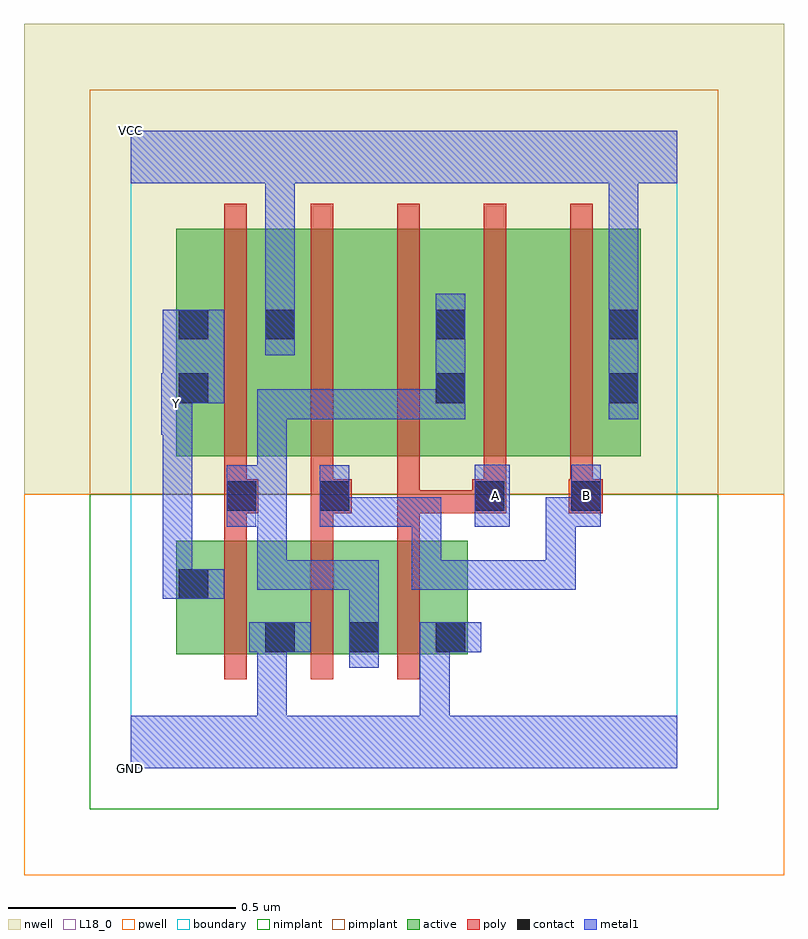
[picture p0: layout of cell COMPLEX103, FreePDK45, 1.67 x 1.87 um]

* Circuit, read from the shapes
.subckt COMPLEX103 A B GND VCC Y
M1 GND n1 Y VSUBS nfet w=0.25u l=0.05u
M2 n1 B GND VSUBS nfet w=0.25u l=0.05u
M3 GND A n1 VSUBS nfet w=0.25u l=0.05u
M4 VCC n1 Y n2 pfet w=0.5u l=0.05u
M5 n3 B VCC n2 pfet w=0.5u l=0.05u
M6 n1 A n3 n2 pfet w=0.5u l=0.05u
M7 n4 A n1 n2 pfet w=0.5u l=0.05u
M8 VCC B n4 n2 pfet w=0.5u l=0.05u
.ends

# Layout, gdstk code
import gdstk
lib = gdstk.Library(unit=1e-6, precision=1e-09)
def R(c, l, rs):  # rectangles x0, y0, x1, y1
    for r in rs: c.add(gdstk.rectangle(r[:2], r[2:], *l))
def A(c, l, x, y, w, h, nx, ny, dx, dy):  # array of equal rectangles
    R(c, l, [(x+i*dx, y+j*dy, x+i*dx+w, y+j*dy+h) for i in range(nx) for j in range(ny)])
active = (1, 0)
pwell = (2, 0)
nwell = (3, 0)
nimplant = (4, 0)
pimplant = (5, 0)
poly = (9, 0)
contact = (10, 0)
metal1 = (11, 0)
L18_0 = (18, 0)
boundary = (235, 0)

complex103 = lib.new_cell('COMPLEX103')
R(complex103, active, [(0.1,0.25,0.175,0.5), (0.1,0.25,0.365,0.5), (0.29,0.25,0.365,0.342), (0.29,0.25,0.55,0.5), (0.475,0.25,0.74,0.5), (0.475,0.25,0.55,0.342), (0.665,0.25,0.74,0.5), (0.1,0.685,0.365,1.185), (0.1,0.685,0.175,1.185), (0.29,0.685,0.515,1.185), (0.515,0.685,0.74,1.185), (0.665,0.685,0.895,1.185), (0.895,0.685,1.12,1.185), (1.045,0.685,1.12,1.157), (0.665,0.797,0.74,1.157), (0.29,0.807,0.365,1.157)])
R(complex103, pwell, [(-0.235,-0.235,1.435,0.602)])
R(complex103, nwell, [(-0.235,0.602,1.435,1.635)])
R(complex103, nimplant, [(-0.09,-0.09,1.29,0.602)])
R(complex103, pimplant, [(-0.09,0.602,1.29,1.49)])
A(complex103, poly, 0.205, 0.195, 0.05, 0.36, 3, 1, 0.19, 0)
A(complex103, poly, 0.205, 0.505, 0.05, 0.105, 3, 1, 0.19, 0)
A(complex103, poly, 0.205, 0.63, 0.05, 0.61, 5, 1, 0.19, 0)
R(complex103, poly, [(0.205,0.56,0.28,0.635), (0.395,0.56,0.485,0.635), (0.585,0.56,0.635,0.61), (0.585,0.56,0.8,0.61), (0.585,0.56,0.635,0.68), (0.75,0.56,0.825,0.635), (0.75,0.56,0.8,0.61), (0.75,0.56,0.8,0.61), (0.962,0.56,1.037,0.635), (0.205,0.585,0.255,0.68), (0.395,0.585,0.445,0.68), (0.775,0.585,0.825,0.68), (0.965,0.585,1.015,0.68)])
R(complex103, contact, [(0.295,0.255,0.36,0.32), (0.48,0.255,0.545,0.32), (0.67,0.255,0.735,0.32), (0.105,0.372,0.17,0.437), (0.21,0.565,0.275,0.63), (0.415,0.565,0.48,0.63), (0.755,0.565,0.82,0.63), (0.967,0.565,1.032,0.63), (0.105,0.802,0.17,0.867), (0.67,0.802,0.735,0.867), (1.05,0.802,1.115,0.867), (0.105,0.942,0.17,1.007), (0.295,0.942,0.36,1.007), (0.67,0.942,0.735,1.007), (1.05,0.942,1.115,1.007)])
R(complex103, metal1, [(0,0,1.2,0.115), (0.277,0.05,0.342,0.115), (0.277,0.05,0.342,0.115), (0.277,0.05,0.342,0.32), (0.635,0.05,0.7,0.115), (0.635,0.05,0.7,0.115), (0.635,0.05,0.7,0.115), (0.635,0.05,0.7,0.115), (0.635,0.05,0.7,0.32), (0.48,0.22,0.545,0.355), (0.26,0.255,0.395,0.32), (0.277,0.255,0.342,0.32), (0.277,0.255,0.342,0.32), (0.635,0.255,0.77,0.32), (0.48,0.29,0.545,0.355), (0.48,0.29,0.545,0.457), (0.07,0.372,0.205,0.437), (0.07,0.372,0.135,0.797), (0.277,0.392,0.342,0.457), (0.277,0.392,0.545,0.457), (0.277,0.392,0.342,0.665), (0.617,0.392,0.682,0.457), (0.617,0.392,0.682,0.595), (0.617,0.392,0.837,0.457), (0.772,0.392,0.837,0.457), (0.772,0.392,0.977,0.457), (0.912,0.392,0.977,0.457), (0.912,0.392,0.977,0.595), (0.21,0.53,0.275,0.665), (0.415,0.53,0.48,0.595), (0.415,0.53,0.48,0.595), (0.415,0.53,0.682,0.595), (0.415,0.53,0.48,0.665), (0.617,0.53,0.682,0.595), (0.617,0.53,0.682,0.595), (0.617,0.53,0.682,0.595), (0.755,0.53,0.832,0.667), (0.912,0.53,0.977,0.595), (0.912,0.53,1.032,0.595), (0.967,0.53,1.032,0.667), (0.21,0.6,0.342,0.665), (0.277,0.6,0.342,0.665), (0.277,0.6,0.342,0.832), (0.067,0.732,0.135,0.867), (0.277,0.767,0.342,0.832), (0.277,0.767,0.48,0.832), (0.415,0.767,0.48,0.832), (0.415,0.767,0.48,0.832), (0.415,0.767,0.48,0.832), (0.415,0.767,0.682,0.832), (0.617,0.767,0.682,0.832), (0.617,0.767,0.735,0.832), (0.67,0.767,0.735,1.042), (1.05,0.767,1.115,1.042), (0.07,0.802,0.135,0.867), (0.07,0.802,0.205,1.007), (0.295,0.907,0.36,1.042), (0.295,0.977,0.36,1.042), (0.295,0.977,0.36,1.042), (0.295,0.977,0.36,1.35), (1.05,0.977,1.115,1.042), (1.05,0.977,1.115,1.042), (1.05,0.977,1.115,1.35), (0,1.285,1.2,1.4)])
R(complex103, L18_0, [(0,0,1.2,0.115), (0.277,0.05,0.342,0.115), (0.277,0.05,0.342,0.115), (0.277,0.05,0.342,0.32), (0.635,0.05,0.7,0.115), (0.635,0.05,0.7,0.115), (0.635,0.05,0.7,0.115), (0.635,0.05,0.7,0.115), (0.635,0.05,0.7,0.32), (0.26,0.255,0.395,0.32), (0.277,0.255,0.342,0.32), (0.277,0.255,0.342,0.32), (0.635,0.255,0.77,0.32), (0.07,0.372,0.205,0.437), (0.07,0.372,0.135,0.797), (0.617,0.392,0.682,0.457), (0.617,0.392,0.682,0.595), (0.617,0.392,0.837,0.457), (0.772,0.392,0.837,0.457), (0.772,0.392,0.977,0.457), (0.912,0.392,0.977,0.457), (0.912,0.392,0.977,0.595), (0.415,0.53,0.48,0.595), (0.415,0.53,0.48,0.595), (0.415,0.53,0.48,0.665), (0.415,0.53,0.682,0.595), (0.617,0.53,0.682,0.595), (0.617,0.53,0.682,0.595), (0.617,0.53,0.682,0.595), (0.755,0.53,0.832,0.667), (0.912,0.53,0.977,0.595), (0.912,0.53,1.032,0.595), (0.967,0.53,1.032,0.667), (0.767,0.567,0.832,0.632), (0.967,0.567,1.032,0.632), (0.067,0.732,0.135,0.867), (0.067,0.767,0.132,0.832), (1.05,0.767,1.115,1.042), (0.07,0.802,0.205,1.007), (0.07,0.802,0.135,0.867), (0.295,0.907,0.36,1.042), (0.295,0.977,0.36,1.042), (0.295,0.977,0.36,1.042), (0.295,0.977,0.36,1.35), (1.05,0.977,1.115,1.042), (1.05,0.977,1.115,1.042), (1.05,0.977,1.115,1.35), (0,1.285,1.2,1.4)])
R(complex103, boundary, [(0,0,1.2,1.4)])
complex103.add(gdstk.Label('A', (0.8,0.6), layer=11, texttype=0))
complex103.add(gdstk.Label('B', (1,0.6), layer=11, texttype=0))
complex103.add(gdstk.Label('Y', (0.1,0.8), layer=11, texttype=0))
complex103.add(gdstk.Label('VCC', (0,1.4), layer=11, texttype=0))
complex103.add(gdstk.Label('GND', (0,0), layer=11, texttype=0))

lib.write_gds('COMPLEX103.gds')
